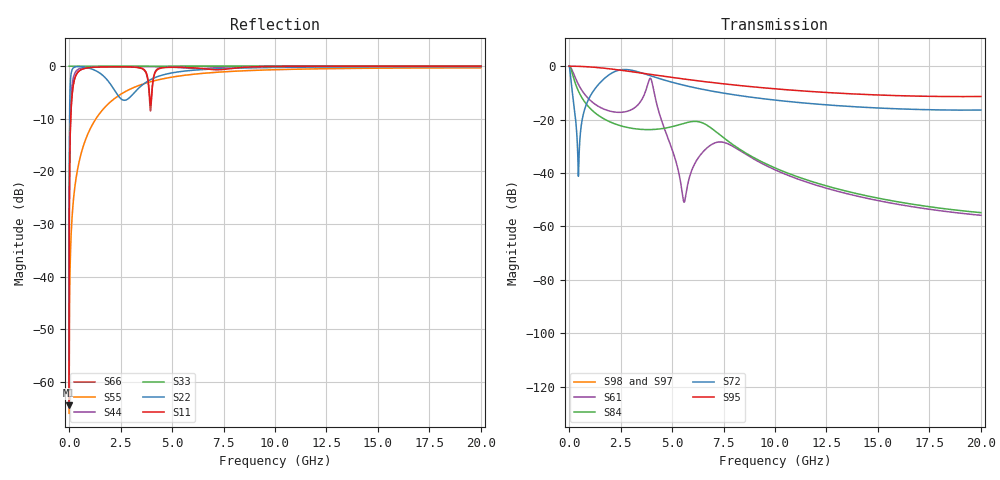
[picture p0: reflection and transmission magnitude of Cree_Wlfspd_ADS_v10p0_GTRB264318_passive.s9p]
! AWR Design Environment (9226) Thu Dec 10 22:37:02 2020
! Document = 'GTRB264318_passive'
! nPorts: 9, nXvals: 2003
# MHz S DB R 50
!Freq DBS11 AngS11 DBS12 AngS12 DBS13 AngS13 DBS14 AngS14
!	DBS15 AngS15 DBS16 AngS16 DBS17 AngS17 DBS18 AngS18
!	DBS19 AngS19
!	DBS21 AngS21 DBS22 AngS22 DBS23 AngS23 DBS24 AngS24
!	DBS25 AngS25 DBS26 AngS26 DBS27 AngS27 DBS28 AngS28
!	DBS29 AngS29
!	DBS31 AngS31 DBS32 AngS32 DBS33 AngS33 DBS34 AngS34
!	DBS35 AngS35 DBS36 AngS36 DBS37 AngS37 DBS38 AngS38
!	DBS39 AngS39
!	DBS41 AngS41 DBS42 AngS42 DBS43 AngS43 DBS44 AngS44
!	DBS45 AngS45 DBS46 AngS46 DBS47 AngS47 DBS48 AngS48
!	DBS49 AngS49
!	DBS51 AngS51 DBS52 AngS52 DBS53 AngS53 DBS54 AngS54
!	DBS55 AngS55 DBS56 AngS56 DBS57 AngS57 DBS58 AngS58
!	DBS59 AngS59
!	DBS61 AngS61 DBS62 AngS62 DBS63 AngS63 DBS64 AngS64
!	DBS65 AngS65 DBS66 AngS66 DBS67 AngS67 DBS68 AngS68
!	DBS69 AngS69
!	DBS71 AngS71 DBS72 AngS72 DBS73 AngS73 DBS74 AngS74
!	DBS75 AngS75 DBS76 AngS76 DBS77 AngS77 DBS78 AngS78
!	DBS79 AngS79
!	DBS81 AngS81 DBS82 AngS82 DBS83 AngS83 DBS84 AngS84
!	DBS85 AngS85 DBS86 AngS86 DBS87 AngS87 DBS88 AngS88
!	DBS89 AngS89
!	DBS91 AngS91 DBS92 AngS92 DBS93 AngS93 DBS94 AngS94
!	DBS95 AngS95 DBS96 AngS96 DBS97 AngS97 DBS98 AngS98
!	DBS99 AngS99
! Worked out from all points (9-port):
!   2002 points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, 100 kHz to 20 GHz, reference 50 ohm
!   strongest paths, dB at 100 kHz, 4.99 GHz, 10 GHz, 15 GHz, 20 GHz:
!     S95: 0.0, -4.2, -8.5, -10.8, -11.4
!     S72: 0.0, -6.0, -12.7, -15.7, -16.4
!     S84: 0.0, -22.7, -38.1, -49.4, -54.8
!     S61: 0.0, -30.9, -38.8, -50.3, -55.8
!     S98: -, -, -, -, -
!     S97: -, -, -, -, -
!   lowest |S11| = -64.5 dB at 100 kHz (marker M1), VSWR 1.00, Z = 50 - j0.0436 ohm
!   |S11| at or under -10 dB: start of sweep to 76.67 MHz
